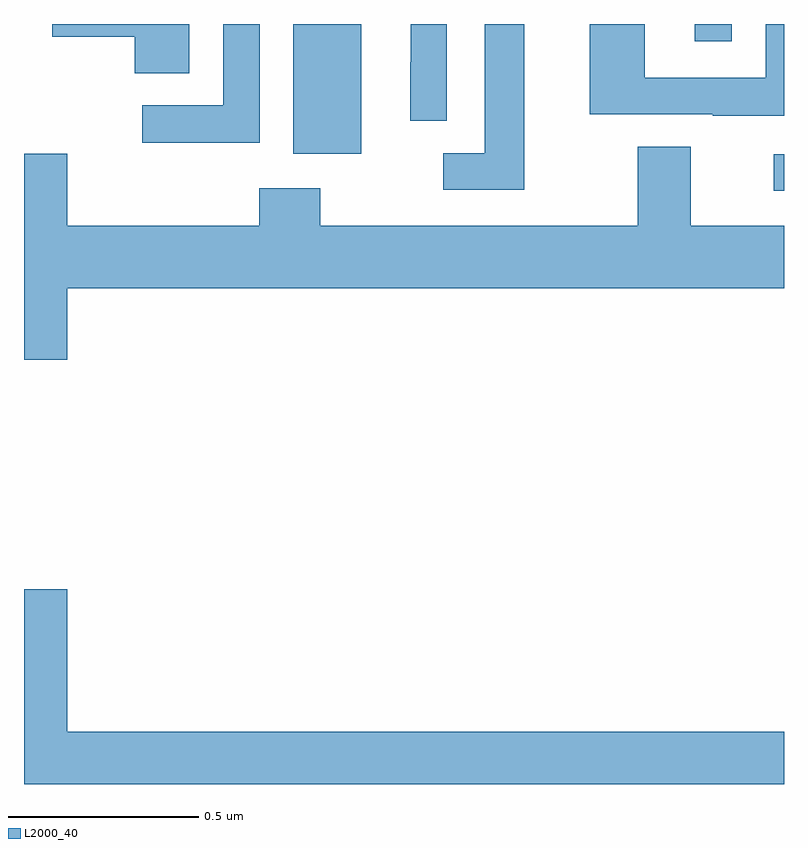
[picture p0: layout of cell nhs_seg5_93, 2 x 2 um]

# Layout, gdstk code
import gdstk
lib = gdstk.Library(unit=1e-6, precision=1e-09)
def R(c, l, rs):  # rectangles x0, y0, x1, y1
    for r in rs: c.add(gdstk.rectangle(r[:2], r[2:], *l))
def P(c, l, *ps):  # polygons
    for p in ps: c.add(gdstk.Polygon(p, *l))
L2000_40 = (2000, 40)

nhs_seg5_93 = lib.new_cell('nhs_seg5_93')
R(nhs_seg5_93, L2000_40, [(113.973,846.36,114,846.456), (112.709,846.458,112.888,846.799), (113.765,846.753,113.862,846.799)])
P(nhs_seg5_93, L2000_40, [(112.435,846.799),(112.074,846.799),(112.074,846.766),(112.292,846.766),(112.292,846.67),(112.435,846.67)],
  [(114,846.799),(113.952,846.799),(113.952,846.657),(113.634,846.657),(113.634,846.799),(113.489,846.799),(113.489,846.561),(113.813,846.561),(113.813,846.557),(114,846.557)],
  [(112.62,846.799),(112.524,846.799),(112.524,846.585),(112.311,846.585),(112.311,846.487),(112.62,846.487)],
  [(113.112,846.799),(113.018,846.799),(113.018,846.698),(113.016,846.698),(113.016,846.544),(113.112,846.544)],
  [(113.317,846.799),(113.213,846.799),(113.213,846.459),(113.103,846.459),(113.103,846.363),(113.317,846.363)],
  [(112.114,846.104),(114,846.104),(114,846.268),(113.755,846.268),(113.755,846.476),(113.615,846.476),(113.615,846.268),(112.779,846.268),(112.779,846.367),(112.619,846.367),(112.619,846.268),(112.114,846.268),(112.114,846.457),(112,846.457),(112,845.916),(112.114,845.916)],
  [(114,844.936),(112.114,844.936),(112.114,845.311),(112,845.311),(112,844.799),(114,844.799)])

lib.write_gds('nhs_seg5_93.gds')
